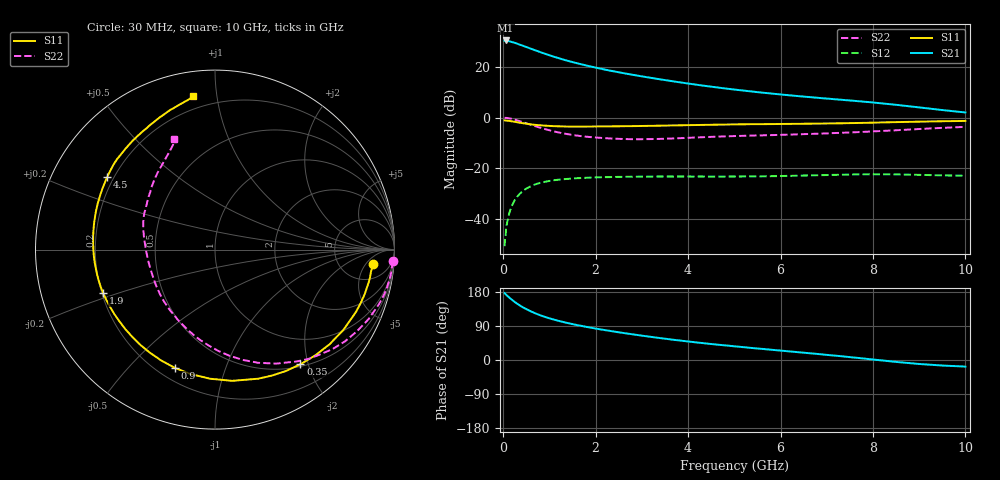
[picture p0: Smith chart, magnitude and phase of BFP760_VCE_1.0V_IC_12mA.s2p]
! Infineon Technologies  Discrete & RF Semiconductors
! BFP760
! VCE =  1.0 V,  IC =  12 mA
! Common Emitter S-Parameters:  Nov 2012
# GHz  S  MA  R  50
!  f  S11  S21  S12  S22
! GHz  MAG  ANG  MAG  ANG  MAG  ANG  MAG  ANG
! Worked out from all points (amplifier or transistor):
!   99 points, 30 MHz to 10 GHz, reference 50 ohm
!   highest |S21| = 30.5 dB at 50 MHz (marker M1)
!   |S21| within 3 dB of that: start of sweep to 560.9 MHz
!   unconditionally stable (mu >= 1): 5.346 GHz to end of sweep
!   at 350 MHz: K = 0.14, MSG = 29.5 dB, |S12| = -30.2 dB
!   at 3.5 GHz: K = 0.73, MSG = 19.0 dB, |S12| = -23.2 dB
!   at 10 GHz: K = 1.21, MAG = 9.7 dB, |S12| = -22.9 dB
!   S11 on the Smith chart (normalised r, x): 30 MHz: 11, -7; 350 MHz: 0.54, -1.87; 900 MHz: 0.27, -0.68; 1.9 GHz: 0.21, -0.18; 4.5 GHz: 0.17, +0.30; 10 GHz: 0.13, +0.86
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0.03  0.8816 -5.1  33.02 176.6  0.0029 86.9  0.993 -3.8
0.04  0.8806 -6.7  33.08 175.6  0.004 87.2  0.9924 -5.0
0.05  0.8773 -8.4  33.45 173.7  0.0043 82.8  0.9891 -6.2
0.11  0.8671 -18.2  32.59 166.9  0.0111 80.1  0.9774 -13.8
0.2  0.8433 -32.2  30.94 157.8  0.0192 73.5  0.9391 -24.4
0.25  0.8279 -39.6  30.02 153.1  0.0235 68.9  0.9125 -29.9
0.35  0.7966 -53.3  27.81 144.7  0.0309 62.2  0.8582 -40.2
0.45  0.7705 -65.6  25.8 137.4  0.0371 55.9  0.8023 -49.3
0.6  0.7375 -82.5  22.98 128.2  0.0445 48.6  0.7213 -61.7
0.7  0.7201 -92.1  21.24 122.9  0.0484 44.6  0.6752 -69.1
0.9  0.6956 -108.8  18.33 113.9  0.0542 37.6  0.5953 -82.5
1.2  0.6743 -128.3  14.93 103.2  0.0597 30.2  0.5104 -99.3
1.4  0.6677 -138.7  13.22 97.4  0.0619 26.5  0.4711 -109.0
1.7  0.6658 -151.6  11.26 89.8  0.0644 22.2  0.4297 -122.2
1.9  0.6681 -158.9  10.21 85.2  0.0657 19.9  0.4122 -130.3
2.5  0.6757 -176.6  7.869 73.1  0.0677 14.7  0.3818 -151.1
3.4  0.6947 163.5  5.703 57.8  0.0688 9.7  0.3812 -176.5
4.5  0.7236 146.1  4.09 42.2  0.0687 6.5  0.4178 163.2
5.1  0.7378 139.8  3.505 35.0  0.0689 5.7  0.4357 155.9
6.7  0.7619 126.5  2.513 17.1  0.0727 4.3  0.479 139.6
8.5  0.8164 107.9  1.794 -5.0  0.0758 -2.6  0.5635 120.8
10  0.862 98.0  1.266 -17.4  0.0716 -4.4  0.6578 110.2
